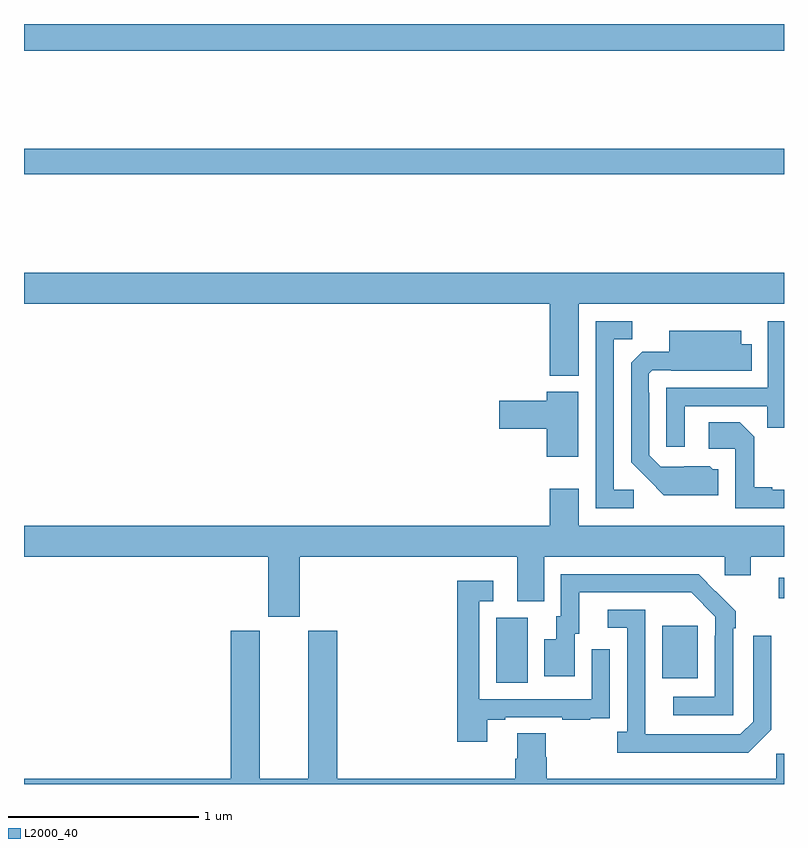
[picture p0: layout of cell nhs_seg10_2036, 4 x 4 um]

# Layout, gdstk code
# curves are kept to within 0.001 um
import gdstk
lib = gdstk.Library(unit=1e-6, precision=1e-09)
def R(c, l, rs):  # rectangles x0, y0, x1, y1
    for r in rs: c.add(gdstk.rectangle(r[:2], r[2:], *l))
def P(c, l, *ps):  # polygons
    for p in ps: c.add(gdstk.Polygon(p, *l))
L2000_40 = (2000, 40)

nhs_seg10_2036 = lib.new_cell('nhs_seg10_2036')
R(nhs_seg10_2036, L2000_40, [(221.486,1253.032,221.65,1253.376), (222.359,1253.057,222.547,1253.332), (222.972,1253.478,223,1253.586), (219,1255.708,223,1255.844), (219,1256.36,223,1256.5)])
P(nhs_seg10_2036, L2000_40, [(221.92,1255.028),(223,1255.028),(223,1255.192),(219,1255.192),(219,1255.028),(221.768,1255.028),(221.768,1254.65),(221.92,1254.65)],
  [(222.208,1254.048),(222.105,1254.048),(222.105,1254.841),(222.201,1254.841),(222.201,1254.936),(222.009,1254.936),(222.009,1253.952),(222.208,1253.952)],
  [(222.477,1254.489),(222.913,1254.489),(222.913,1254.376),(223,1254.376),(223,1254.936),(222.915,1254.936),(222.915,1254.585),(222.381,1254.585),(222.381,1254.276),(222.477,1254.276)],
  [(222.655,1254.156),(222.624,1254.156),(222.608,1254.172),(222.351,1254.171),(222.291,1254.231),(222.291,1254.56),(222.288,1254.56),(222.288,1254.66),(222.306,1254.678),(222.406,1254.678),(222.406,1254.674),(222.83,1254.674),(222.83,1254.814),(222.775,1254.814),(222.775,1254.886),(222.395,1254.886),(222.395,1254.775),(222.254,1254.775),(222.195,1254.716),(222.195,1254.194),(222.367,1254.02),(222.655,1254.02)],
  [(221.917,1254.565),(221.75,1254.565),(221.75,1254.518),(221.502,1254.518),(221.502,1254.371),(221.75,1254.371),(221.75,1254.222),(221.917,1254.222)],
  [(223,1254.048),(222.937,1254.048),(222.937,1254.061),(222.843,1254.061),(222.843,1254.328),(222.767,1254.404),(222.603,1254.404),(222.603,1254.264),(222.744,1254.264),(222.744,1253.952),(223,1253.952)],
  [(220.45,1253.696),(221.597,1253.696),(221.597,1253.461),(221.737,1253.461),(221.737,1253.696),(222.687,1253.696),(222.687,1253.598),(222.826,1253.598),(222.826,1253.696),(223,1253.696),(223,1253.86),(221.92,1253.86),(221.92,1254.055),(221.768,1254.055),(221.768,1253.86),(219,1253.86),(219,1253.696),(220.286,1253.696),(220.286,1253.379),(220.45,1253.379)],
  [(222.732,1253.321),(222.747,1253.321),(222.747,1253.409),(222.55,1253.604),(221.826,1253.604),(221.826,1253.382),(221.801,1253.382),(221.801,1253.263),(221.738,1253.263),(221.738,1253.067),(221.899,1253.067),(221.899,1253.292),(221.923,1253.292),(221.923,1253.508),(222.511,1253.508),(222.639,1253.379),(222.639,1253.279),(222.636,1253.279),(222.636,1252.959),(222.417,1252.959),(222.417,1252.863),(222.732,1252.863)],
  [(221.437,1252.839),(221.533,1252.839),(221.533,1252.851),(221.833,1252.851),(221.833,1252.839),(221.981,1252.839),(221.981,1252.845),(222.083,1252.845),(222.083,1252.954),(222.084,1252.954),(222.084,1253.209),(221.988,1253.209),(221.988,1252.947),(221.397,1252.947),(221.397,1253.463),(221.47,1253.463),(221.47,1253.569),(221.281,1253.569),(221.281,1252.722),(221.437,1252.722)],
  [(222.933,1252.785),(222.933,1253.281),(222.837,1253.281),(222.837,1252.827),(222.771,1252.761),(222.271,1252.761),(222.27,1253.418),(222.072,1253.418),(222.072,1253.322),(222.174,1253.322),(222.174,1252.774),(222.123,1252.774),(222.123,1252.664),(222.812,1252.664)],
  [(223,1252.66),(222.96,1252.66),(222.96,1252.528),(221.75,1252.528),(221.75,1252.641),(221.745,1252.641),(221.745,1252.766),(221.597,1252.766),(221.597,1252.634),(221.585,1252.634),(221.585,1252.528),(220.649,1252.528),(220.649,1253.307),(220.496,1253.307),(220.496,1252.528),(220.24,1252.528),(220.24,1253.307),(220.088,1253.307),(220.088,1252.528),(219,1252.528),(219,1252.5),(223,1252.5)])

lib.write_gds('nhs_seg10_2036.gds')
